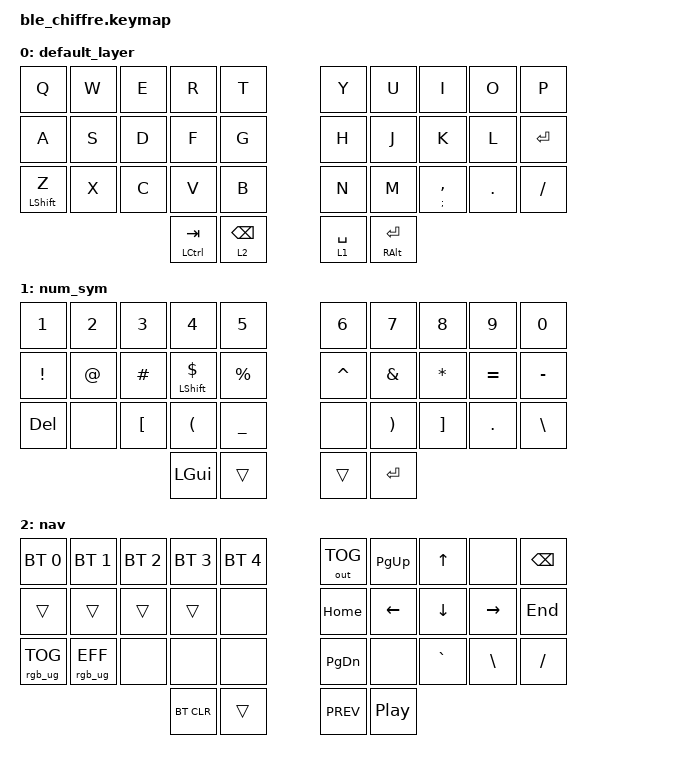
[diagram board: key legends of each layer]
/*
 * Copyright (c) 2020 The ZMK Contributors
 *
 * SPDX-License-Identifier: MIT
 */

#include <behaviors.dtsi>
#include <dt-bindings/zmk/keys.h>
#include <dt-bindings/zmk/bt.h>
#include <dt-bindings/zmk/rgb.h>
#include <dt-bindings/zmk/outputs.h>

#define DEFAULT 0
#define NUM_SYM 1
#define NAV     2

/ {
	behaviors {
		rst: boot_reset 
		{
			compatible = "zmk,behavior-hold-tap";
			label = "Bootloader Tap - Reset Hold";
			#binding-cells = <2>;
			tapping_term_ms = <200>;
            flavor = "balanced";
			bindings = <&reset>, <&bootloader>;
        };

        bh: layer_taps 
		{
			compatible = "zmk,behavior-hold-tap";
			label = "Layer-Tap";
			#binding-cells = <2>;
			tapping_term_ms = <215>;
            flavor = "tap-preferred";
			bindings = <&mo>, <&kp>;
        };

        hm: homerow_mods0 
		{
			compatible = "zmk,behavior-hold-tap";
			label = "homerow mods";
			#binding-cells = <2>;
			tapping_term_ms = <230>;
            flavor = "tap-preferred";
			bindings = <&kp>, <&kp>;
        };
        
        hm1: homerow_mods1 
		{
			compatible = "zmk,behavior-hold-tap";
			label = "homerow mods";
			#binding-cells = <2>;
			tapping_term_ms = <205>;
            flavor = "tap-preferred";
			bindings = <&kp>, <&kp>;
        };

        hm2: homerow_mods2 
		{
			compatible = "zmk,behavior-hold-tap";
			label = "homerow mods 2";
			#binding-cells = <2>;
			tapping_term_ms = <250>;
            flavor = "tap-preferred";
			bindings = <&kp>, <&kp>;
        };

        com_col: comma_semicolon
		{
		 	compatible = "zmk,behavior-hold-tap";
	     	label = "Tap comma_hold colon";
			#binding-cells = <2>;
			tapping_term_ms = <150>;
            flavor = "balanced";
		 	bindings = <&kp>, <&kp>;
	    };
   	 };
};

/ {
	combos {
		compatible = "zmk,combos";
		combo_backspce {
			timeout-ms = <50>;
			key-positions = <8 9>;
			bindings = <&kp BSPC>;
		};
		combo_gesc 
		{
			timeout-ms = <30>;
			key-positions = <0 1>;
			bindings = <&com_col GRAVE ESC>;
		};
		combo_tab 
		{
			timeout-ms = <35>;
			key-positions = <11 12>;
			bindings = <&kp TAB>;
		};
		combo_mnxt 
		{
			timeout-ms = <30>;
			key-positions = <28 29>;
			bindings = <&kp C_NEXT>;
		};
		combo_mprev 
		{
			timeout-ms = <30>;
			key-positions = <27 28>;
			bindings = <&kp C_PREV>;	
		};
		combo_mpp 
		{
			timeout-ms = <30>;
			key-positions = <27 29>;
			bindings = <&kp C_PP>;
		};
		combo_del 
		{
			timeout-ms = <40>;
			key-positions = <7 8 9>;
			bindings = <&kp DEL>;
		};
	};
};

/ {
    keymap 
	{
    compatible = "zmk,keymap";

    default_layer {
            bindings = <
    &kp Q &kp W &kp E &kp R &kp T &kp Y &kp U &kp I &kp O &kp P
    &kp A &kp S &kp D &kp F &kp G &kp H &kp J &kp K &kp L &kp RET
    &hm LSHFT Z &kp X &kp C &kp V &kp B &kp N &kp M &com_col SEMI COMMA &kp DOT &kp FSLH
    &hm LCTRL TAB &bh 2 BSPC &bh 1 SPACE &hm RALT RET
            >;
        };

    num_sym {
            bindings = <
    &kp N1 &kp N2 &kp N3 &kp N4 &kp N5 &kp N6 &kp N7 &kp N8 &kp N9 &kp N0
    &kp EXCL &kp AT &kp POUND &hm LSHFT DLLR &kp PRCNT &kp CARET &kp AMPS &kp STAR &kp EQUAL &kp MINUS
    &kp DEL &none &kp LBKT &kp LPAR &kp UNDER &none &kp RPAR &kp RBKT &kp DOT &kp BSLH
    &kp LGUI &trans &trans &kp RET
            >;
        };

    nav {
            bindings = <
    &bt BT_SEL 0 &bt BT_SEL 1 &bt BT_SEL 2 &bt BT_SEL 3 &bt BT_SEL 4 &out OUT_TOG &kp PG_UP &kp UP &none &kp BSPC
    &trans &trans &trans &trans &none &kp HOME &kp LEFT &kp DOWN &kp RIGHT &kp END
    &rgb_ug RGB_TOG &rgb_ug RGB_EFF &none &none &none &kp PG_DN &none &kp GRAVE &kp BSLH &kp FSLH
    &bt BT_CLR &trans &kp C_PREV &kp C_PP
            >;
        };
    };
};
